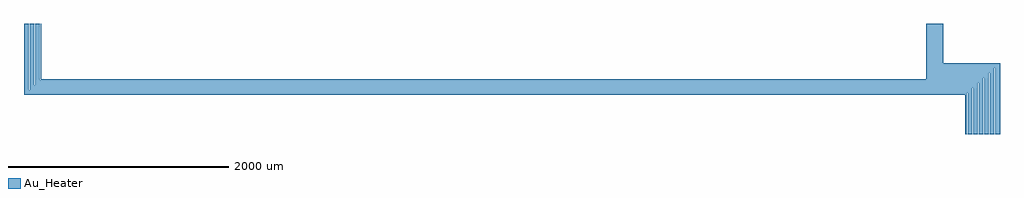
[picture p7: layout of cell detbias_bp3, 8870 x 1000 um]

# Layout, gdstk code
import gdstk
lib = gdstk.Library(unit=1e-6, precision=1e-09)
def P(c, l, *ps):  # polygons
    for p in ps: c.add(gdstk.Polygon(p, *l))
Au_Heater = (9, 0)

detbias_bp3 = lib.new_cell('detbias_bp3')
P(detbias_bp3, Au_Heater, [(12702.5,53750),(12702.5,54252),(12187.5,54252),(12187.5,54750),(12192.5,54750),(12192.5,54257),(12707.5,54257),(12707.5,53750)],
  [(12712.5,53750),(12712.5,54261),(12197.5,54261),(12197.5,54750),(12202.5,54750),(12202.5,54266),(12717.5,54266),(12717.5,53750)],
  [(12722.5,53750),(12722.5,54270),(12207.5,54270),(12207.5,54750),(12212.5,54750),(12212.5,54275),(12727.5,54275),(12727.5,53750)],
  [(12732.5,53750),(12732.5,54279),(12217.5,54279),(12217.5,54750),(12222.5,54750),(12222.5,54284),(12737.5,54284),(12737.5,53750)],
  [(12742.5,53750),(12742.5,54288),(12227.5,54288),(12227.5,54750),(12232.5,54750),(12232.5,54293),(12747.5,54293),(12747.5,53750)],
  [(12752.5,53750),(12752.5,54297),(12237.5,54297),(12237.5,54750),(12242.5,54750),(12242.5,54302),(12757.5,54302),(12757.5,53750)],
  [(12762.5,53750),(12762.5,54306),(12247.5,54306),(12247.5,54750),(12252.5,54750),(12252.5,54311),(12767.5,54311),(12767.5,53750)],
  [(12772.5,53750),(12772.5,54315),(12257.5,54315),(12257.5,54750),(12262.5,54750),(12262.5,54320),(12777.5,54320),(12777.5,53750)],
  [(12782.5,53750),(12782.5,54324),(12267.5,54324),(12267.5,54750),(12272.5,54750),(12272.5,54329),(12787.5,54329),(12787.5,53750)],
  [(12792.5,53750),(12792.5,54333),(12277.5,54333),(12277.5,54750),(12282.5,54750),(12282.5,54338),(12797.5,54338),(12797.5,53750)],
  [(12802.5,53750),(12802.5,54342),(12287.5,54342),(12287.5,54750),(12292.5,54750),(12292.5,54347),(12807.5,54347),(12807.5,53750)],
  [(12812.5,53750),(12812.5,54351),(12297.5,54351),(12297.5,54750),(12302.5,54750),(12302.5,54356),(12817.5,54356),(12817.5,53750)],
  [(12822.5,53750),(12822.5,54360),(12307.5,54360),(12307.5,54750),(12312.5,54750),(12312.5,54365),(12827.5,54365),(12827.5,53750)],
  [(12832.5,53750),(12832.5,54369),(12317.5,54369),(12317.5,54750),(12322.5,54750),(12322.5,54374),(12837.5,54374),(12837.5,53750)],
  [(12842.5,53750),(12842.5,54378),(12327.5,54378),(12327.5,54750),(12332.5,54750),(12332.5,54383),(12847.5,54383),(12847.5,53750)],
  [(12852.5,53750),(12852.5,54387),(12337.5,54387),(12337.5,54750),(12342.5,54750),(12342.5,54392),(12857.5,54392),(12857.5,53750)],
  [(12542.5,53750),(12542.5,54108),(3987.5,54108),(3987.5,54750),(3992.5,54750),(3992.5,54113),(12547.5,54113),(12547.5,53750)],
  [(12552.5,53750),(12552.5,54117),(3997.5,54117),(3997.5,54750),(4002.5,54750),(4002.5,54122),(12557.5,54122),(12557.5,53750)],
  [(12562.5,53750),(12562.5,54126),(4007.5,54126),(4007.5,54750),(4012.5,54750),(4012.5,54131),(12567.5,54131),(12567.5,53750)],
  [(12572.5,53750),(12572.5,54135),(4017.5,54135),(4017.5,54750),(4022.5,54750),(4022.5,54140),(12577.5,54140),(12577.5,53750)],
  [(12582.5,53750),(12582.5,54144),(4027.5,54144),(4027.5,54750),(4032.5,54750),(4032.5,54149),(12587.5,54149),(12587.5,53750)],
  [(12592.5,53750),(12592.5,54153),(4037.5,54153),(4037.5,54750),(4042.5,54750),(4042.5,54158),(12597.5,54158),(12597.5,53750)],
  [(12602.5,53750),(12602.5,54162),(4047.5,54162),(4047.5,54750),(4052.5,54750),(4052.5,54167),(12607.5,54167),(12607.5,53750)],
  [(12612.5,53750),(12612.5,54171),(4057.5,54171),(4057.5,54750),(4062.5,54750),(4062.5,54176),(12617.5,54176),(12617.5,53750)],
  [(12622.5,53750),(12622.5,54180),(4067.5,54180),(4067.5,54750),(4072.5,54750),(4072.5,54185),(12627.5,54185),(12627.5,53750)],
  [(12632.5,53750),(12632.5,54189),(4077.5,54189),(4077.5,54750),(4082.5,54750),(4082.5,54194),(12637.5,54194),(12637.5,53750)],
  [(12642.5,53750),(12642.5,54198),(4087.5,54198),(4087.5,54750),(4092.5,54750),(4092.5,54203),(12647.5,54203),(12647.5,53750)],
  [(12652.5,53750),(12652.5,54207),(4097.5,54207),(4097.5,54750),(4102.5,54750),(4102.5,54212),(12657.5,54212),(12657.5,53750)],
  [(12662.5,53750),(12662.5,54216),(4107.5,54216),(4107.5,54750),(4112.5,54750),(4112.5,54221),(12667.5,54221),(12667.5,53750)],
  [(12672.5,53750),(12672.5,54225),(4117.5,54225),(4117.5,54750),(4122.5,54750),(4122.5,54230),(12677.5,54230),(12677.5,53750)],
  [(12682.5,53750),(12682.5,54234),(4127.5,54234),(4127.5,54750),(4132.5,54750),(4132.5,54239),(12687.5,54239),(12687.5,53750)],
  [(12692.5,53750),(12692.5,54243),(4137.5,54243),(4137.5,54750),(4142.5,54750),(4142.5,54248),(12697.5,54248),(12697.5,53750)])

lib.write_gds('detbias_bp3.gds')
